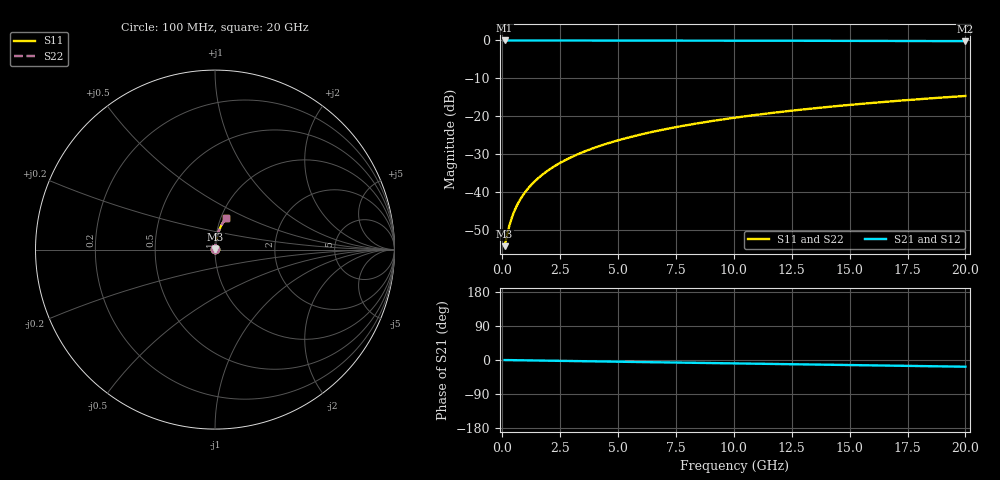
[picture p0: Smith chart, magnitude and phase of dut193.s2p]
! Touchstone file exported from HFSS 2026.1.0
!  File:  C:/ffzhzh/LocalFiles/Ansys_Project_Files/temp_train_TMRDL_193_1782983840_41620.aedt
!  Generated:  05:18:33 PM Jul  2, 2026
!  Design:  TMRDL
!  Project:  temp_train_TMRDL_193_1782983840_41620
! Variables:
!  h_bsmrdl = 2um
!  h_ox = 20um
!  h_rdl = 5um
!  h_sub = 80um
!  h_tmrdl = 2.06um
!  h_tsv = 80um
!  h_via = 3um
!  l_bsmrdl = 300um
!  l_sub = 599.83um
!  l_tmrdl = 199.83um
!  m_sub = 200um
!  pitch = 58.93um
!  r_tsv = 6um
!  s_tmrdl = 10um
!  w_bsmrdl = 18um
!  w_sub = 500um
!  w_tmrdl = 29.45um
!  x_tsv_center1 = 214.555um
!  x_tsv_center2 = 532.555um
!  x_tsv_center3 = 761.835um
!  x_tsv_center4 = 1079.835um
!  x_tsv_center5 = 1309.115um
!  x_tsv_center6 = 1627.115um
# GHz S MA R 50.000000
! Terminal data exported
! Port[1] = TM_RDL1_1_T1
! Port[2] = TM_RDL1_1_T2
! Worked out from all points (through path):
!   200 points, 100 MHz to 20 GHz, reference 50 ohm
!   highest |S21| = -0.01 dB at 100 MHz (marker M1); lowest = -0.2 dB at 20 GHz (marker M2)
!   group delay of S21, straight-line fit = 2.46 ps
!   lowest |S11| = -54.2 dB at 100 MHz (marker M3), VSWR 1.00, Z = 50.2 + j0.107 ohm
!   |S11| at or under -10 dB: start of sweep to end of sweep
!   |S22| runs from -54.2 to -14.6 dB; largest |S21 - S12| = 3.1e-15
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0.1  0.00196 32.9  0.9984 -0.1  0.9984 -0.1  0.00196 32.9
! Gamma 0 0 0 0
! Port Impedance 50 0 50 0
0.2  0.00271 51.3  0.9983 -0.2  0.9983 -0.2  0.00271 51.3
0.3  0.003604 60.7  0.9983 -0.3  0.9983 -0.3  0.003604 60.7
0.4  0.00454 66.1  0.9982 -0.4  0.9982 -0.4  0.00454 66.1
0.5  0.005483 69.5  0.9981 -0.5  0.9981 -0.5  0.005483 69.5
0.6  0.006427 72.0  0.998 -0.6  0.998 -0.6  0.006427 72.0
0.8  0.008309 75.2  0.9979 -0.7  0.9979 -0.7  0.008309 75.2
1.1  0.01113 78.0  0.9978 -1.0  0.9978 -1.0  0.01113 78.0
1.3  0.01302 79.3  0.9978 -1.2  0.9978 -1.2  0.01302 79.3
1.6  0.01587 80.6  0.9977 -1.5  0.9977 -1.5  0.01587 80.6
2.1  0.02064 81.8  0.9975 -1.9  0.9975 -1.9  0.02064 81.8
2.7  0.02638 82.6  0.9973 -2.4  0.9973 -2.4  0.02638 82.6
3.5  0.03405 82.9  0.9971 -3.2  0.9971 -3.2  0.03405 82.9
4.2  0.04077 82.8  0.9968 -3.8  0.9968 -3.8  0.04077 82.8
5  0.04843 82.5  0.9963 -4.5  0.9963 -4.5  0.04843 82.5
5.9  0.05703 82.1  0.9958 -5.3  0.9958 -5.3  0.05703 82.1
6.8  0.0656 81.5  0.9952 -6.1  0.9952 -6.1  0.0656 81.5
8.3  0.0798 80.5  0.994 -7.5  0.994 -7.5  0.0798 80.5
10.1  0.0967 79.1  0.9922 -9.1  0.9922 -9.1  0.0967 79.1
13.4  0.1272 76.4  0.9884 -12.0  0.9884 -12.0  0.1272 76.4
16.7  0.1569 73.7  0.9836 -14.9  0.9836 -14.9  0.1569 73.7
20  0.1858 70.9  0.9782 -17.7  0.9782 -17.7  0.1858 70.9
